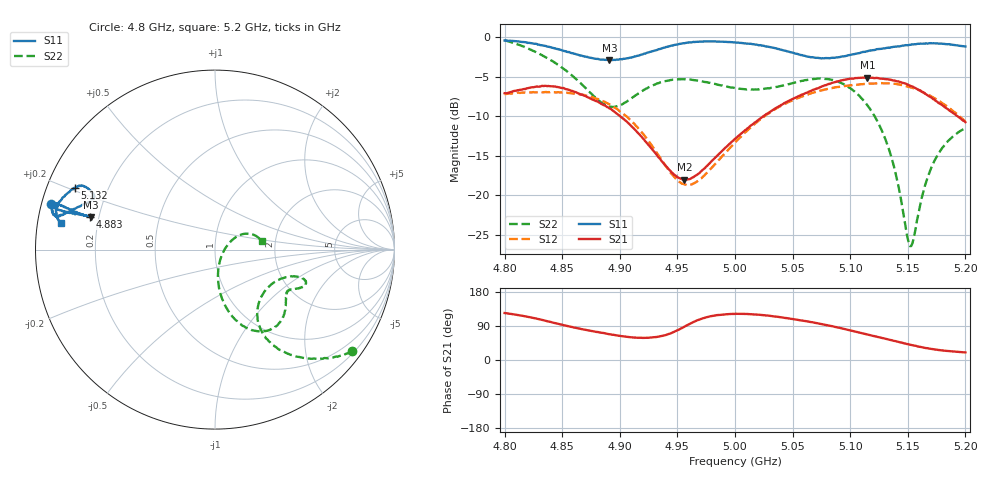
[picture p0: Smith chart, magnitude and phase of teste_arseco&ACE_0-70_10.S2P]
! Network Analyzer HP8722D
! Hewlett-Packard
! Data name: Linha & Wilkinson
! Saver's name: Rodrigo Anjos
! Comments: Teste da utilização de aquisição
! continua pelo VNA HP8722D
! Time and date: 8/5/2025 12:50
!  Frequency  S11  S21  S12  S22
# HZ  S  MA R 50
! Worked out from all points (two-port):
!   401 points, 4.8 GHz to 5.2 GHz, reference 50 ohm
!   highest |S21| = -5.12 dB at 5.115 GHz (marker M1); lowest = -18.1 dB at 4.956 GHz (marker M2)
!   |S21| within 3 dB of the highest: start of sweep to 4.88 GHz; 5.046 GHz to 5.175 GHz (128.7 MHz wide, 2.52 % of centre)
!   lowest |S11| = -2.9 dB at 4.891 GHz (marker M3), VSWR 6.01, Z = 8.46 + j6.27 ohm
!   |S11| at or under -10 dB: nowhere
!   |S22| runs from -26.5 to -0.4 dB; largest |S21 - S12| = 0.71
!   S11 on the Smith chart (normalised r, x): 4.8 GHz: 0.03, +0.14; 4.883 GHz: 0.17, +0.13; 5.132 GHz: 0.08, +0.21; 5.2 GHz: 0.07, +0.09
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4.8e9  0.951 164.5  0.4411 124.0  0.4354 19.3  0.9515 -36.6
4.834e9  0.882 165.7  0.4897 104.8  0.4478 8.8  0.7561 -52.2
4.867e9  0.7616 165.4  0.4326 81.2  0.432 -5.0  0.5022 -60.0
4.883e9  0.7205 165.2  0.3822 72.7  0.4001 -14.3  0.3897 -51.6
4.891e9  0.7146 165.3  0.3536 67.9  0.3752 -19.3  0.3633 -42.3
4.91e9  0.7417 165.4  0.2733 60.0  0.2941 -30.0  0.409 -23.0
4.934e9  0.8382 164.4  0.1725 61.8  0.177 -32.4  0.5119 -18.2
4.956e9  0.9127 163.7  0.1251 87.9  0.117 -5.2  0.5401 -21.0
4.97e9  0.9361 164.4  0.1401 107.8  0.1267 18.7  0.5266 -23.5
5e9  0.9231 167.6  0.2268 121.6  0.2152 40.0  0.475 -27.9
5.035e9  0.8497 166.0  0.354 114.7  0.3501 35.7  0.4826 -35.0
5.067e9  0.746 158.8  0.4602 99.7  0.443 21.9  0.5407 -47.5
5.092e9  0.7516 155.2  0.5308 84.0  0.4854 8.1  0.5128 -62.5
5.115e9  0.8131 154.2  0.5543 67.2  0.5051 -5.4  0.3698 -76.4
5.132e9  0.8539 156.2  0.5401 55.0  0.5098 -16.5  0.2106 -84.1
5.134e9  0.8539 156.5  0.5375 53.5  0.5086 -17.8  0.1914 -84.2
5.141e9  0.8718 158.1  0.5245 48.4  0.5026 -22.7  0.1222 -81.7
5.15e9  0.8878 160.4  0.4998 41.7  0.4857 -28.8  0.05276 -47.7
5.153e9  0.8967 161.1  0.4884 39.6  0.4788 -30.8  0.04759 -18.3
5.164e9  0.9084 163.9  0.4431 32.5  0.4449 -37.6  0.1083 29.1
5.172e9  0.914 165.7  0.4051 28.4  0.4151 -41.9  0.1581 30.4
5.2e9  0.8715 170.1  0.2891 20.0  0.2923 -52.0  0.265 10.2
